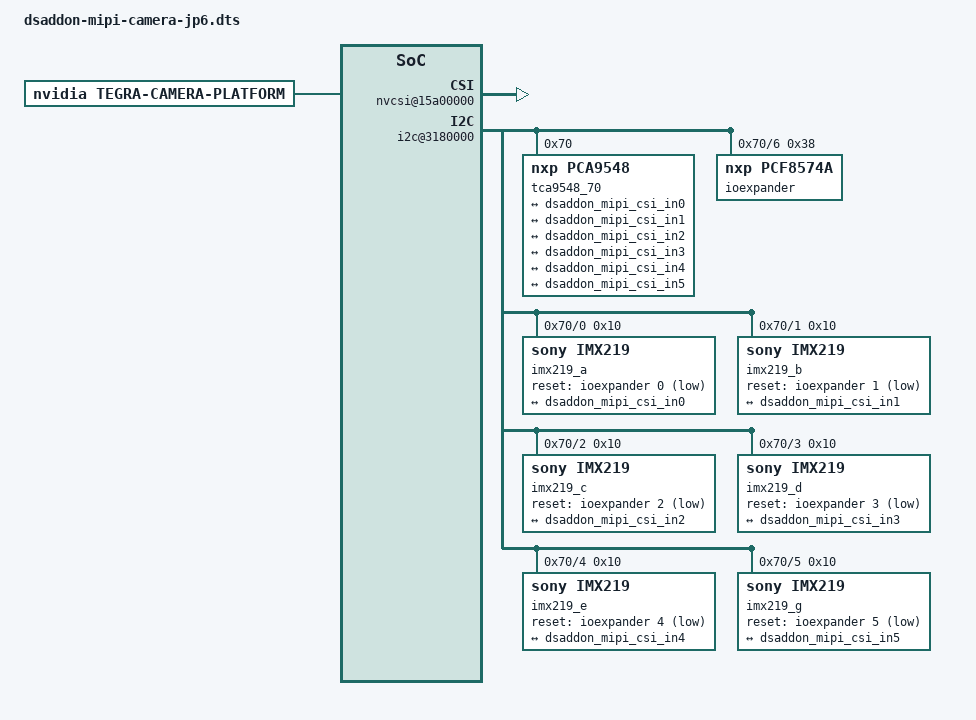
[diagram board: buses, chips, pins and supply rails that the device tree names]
/dts-v1/;
/plugin/;

#include <dt-bindings/tegra234-p3737-0000+p3701-0000.h>
#include <dt-bindings/clock/tegra234-clock.h>
#include <dt-bindings/gpio/tegra234-gpio.h>

#define CAMERA_I2C_MUX_BUS(x) (0x28 + x)

/ {
	overlay-name = "dsaddon mipi camera";
	jetson-header-name = "Jetson AGX CSI Connector";
	compatible = JETSON_COMPATIBLE;

	fragment-camera@0 {
		target-path = "/";
		__overlay__ {
			tegra-capture-vi {
				num-channels = <6>;
				ports {
					#address-cells = <1>;
					#size-cells = <0>;
					port@0 {
						status = "okay";
						reg = <0>;
						dsaddon_mipi_vi_in0: endpoint {
							status = "okay";
							port-index = <0>;
							bus-width = <2>;
							remote-endpoint = <&dsaddon_mipi_csi_out0>;
						};
					};
					port@1 {
						status = "okay";
						reg = <1>;
						dsaddon_mipi_vi_in1: endpoint {
							status = "okay";
							port-index = <1>;
							bus-width = <2>;
							remote-endpoint = <&dsaddon_mipi_csi_out1>;
						};
					};
					port@2 {
						status = "okay";
						reg = <2>;
						dsaddon_mipi_vi_in2: endpoint {
							status = "okay";
							port-index = <2>;
							bus-width = <2>;
							remote-endpoint = <&dsaddon_mipi_csi_out2>;
						};
					};
					port@3 {
						status = "okay";
						reg = <3>;
						dsaddon_mipi_vi_in3: endpoint {
							status = "okay";
							port-index = <3>;
							bus-width = <2>;
							remote-endpoint = <&dsaddon_mipi_csi_out3>;
						};
					};
					port@4 {
						status = "okay";
						reg = <4>;
						dsaddon_mipi_vi_in4: endpoint {
							status = "okay";
							port-index = <4>;
							bus-width = <2>;
							remote-endpoint = <&dsaddon_mipi_csi_out4>;
						};
					};
					port@5 {
						status = "okay";
						reg = <5>;
						dsaddon_mipi_vi_in5: endpoint {
							status = "okay";
							port-index = <5>;
							bus-width = <2>;
							remote-endpoint = <&dsaddon_mipi_csi_out5>;
						};
					};
				};
			};

			bus@0 {
				host1x@13e00000 {
					nvcsi@15a00000 {
						num-channels = <6>;
						#address-cells = <1>;
						#size-cells = <0>;
						status = "okay";

						channel@0 {
							status = "okay";
							reg = <0>;
							ports {
								#address-cells = <1>;
								#size-cells = <0>;
								port@0 {
									status = "okay";
									reg = <0>;
									dsaddon_mipi_csi_in0: endpoint@0 {
										status = "okay";
										port-index = <0>;
										bus-width = <2>;
										remote-endpoint = <&dsaddon_mipi_out0>;
									};
								};
								port@1 {
									status = "okay";
									reg = <1>;
									dsaddon_mipi_csi_out0: endpoint@1 {
										status = "okay";
										remote-endpoint = <&dsaddon_mipi_vi_in0>;
									};
								};
							};
						};
						channel@1 {
							status = "okay";
							reg = <1>;
							ports {
								#address-cells = <1>;
								#size-cells = <0>;
								port@0 {
									status = "okay";
									reg = <0>;
									dsaddon_mipi_csi_in1: endpoint@2 {
										status = "okay";
										port-index = <1>;
										bus-width = <2>;
										remote-endpoint = <&dsaddon_mipi_out1>;
									};
								};
								port@1 {
									status = "okay";
									reg = <1>;
									dsaddon_mipi_csi_out1: endpoint@3 {
										status = "okay";
										remote-endpoint = <&dsaddon_mipi_vi_in1>;
									};
								};
							};
						};
						channel@2 {
							status = "okay";
							reg = <2>;
							ports {
								#address-cells = <1>;
								#size-cells = <0>;
								port@0 {
									status = "okay";
									reg = <0>;
									dsaddon_mipi_csi_in2: endpoint@4 {
										status = "okay";
										port-index = <2>;
										bus-width = <2>;
										remote-endpoint = <&dsaddon_mipi_out2>;
									};
								};
								port@1 {
									status = "okay";
									reg = <1>;
									dsaddon_mipi_csi_out2: endpoint@5 {
										status = "okay";
										remote-endpoint = <&dsaddon_mipi_vi_in2>;
									};
								};
							};
						};
						channel@3 {
							status = "okay";
							reg = <3>;
							ports {
								#address-cells = <1>;
								#size-cells = <0>;
								port@0 {
									status = "okay";
									reg = <0>;
									dsaddon_mipi_csi_in3: endpoint@6 {
										status = "okay";
										port-index = <3>;
										bus-width = <2>;
										remote-endpoint = <&dsaddon_mipi_out3>;
									};
								};
								port@1 {
									status = "okay";
									reg = <1>;
									dsaddon_mipi_csi_out3: endpoint@7 {
										status = "okay";
										remote-endpoint = <&dsaddon_mipi_vi_in3>;
									};
								};
							};
						};
						channel@4 {
							status = "okay";
							reg = <4>;
							ports {
								#address-cells = <1>;
								#size-cells = <0>;
								port@0 {
									status = "okay";
									reg = <0>;
									dsaddon_mipi_csi_in4: endpoint@8 {
										status = "okay";
										port-index = <4>;
										bus-width = <2>;
										remote-endpoint = <&dsaddon_mipi_out4>;
									};
								};
								port@1 {
									status = "okay";
									reg = <1>;
									dsaddon_mipi_csi_out4: endpoint@9 {
										status = "okay";
										remote-endpoint = <&dsaddon_mipi_vi_in4>;
									};
								};
							};
						};
						channel@5 {
							status = "okay";
							reg = <5>;
							ports {
								#address-cells = <1>;
								#size-cells = <0>;
								port@0 {
									status = "okay";
									reg = <0>;
									dsaddon_mipi_csi_in5: endpoint@10 {
										status = "okay";
										port-index = <6>;
										bus-width = <2>;
										remote-endpoint = <&dsaddon_mipi_out5>;
									};
								};
								port@1 {
									status = "okay";
									reg = <1>;
									dsaddon_mipi_csi_out5: endpoint@11 {
										status = "okay";
										bus-width = <2>;
										remote-endpoint = <&dsaddon_mipi_vi_in5>;
									};
								};
							};
						};
					};
				};

				i2c@3180000 {
					status = "okay";
					#address-cells = <1>;
					#size-cells = <0>;

					tca9548_70: tca9548@70 {
						status = "okay";
						compatible = "nxp,pca9548";
						reg = <0x70>;
						#address-cells = <1>;
						#size-cells = <0>;
						i2c-mux-idle-disconnect;
						/*
						 * FIX: idle-state changed from 1 to 0xFF (disconnect).
						 * idle-state = <1> would keep channel 1 selected when
						 * idle, causing I2C collisions between cameras sharing
						 * address 0x10. Use 0xFF or rely on
						 * i2c-mux-idle-disconnect to deselect all channels.
						 */
						idle-state = <0xFF>;
						skip_mux_detect = "yes";
						vcc_lp = "vcc";

						/*
						 * FIX: Move ioexpander to i2c@6 (unchanged) BUT declare
						 * it FIRST so it probes before the camera channels.
						 * The DT overlay node order controls probe sequence.
						 * By listing i2c@6 first, the expander is registered as
						 * a GPIO provider before any camera tries gpiod_get().
						 */
						i2c@6 {
							status = "okay";
							reg = <6>;
							i2c-mux,deselect-on-exit;
							#address-cells = <1>;
							#size-cells = <0>;

							ioexpander: gpio@38 {
								status = "okay";
								compatible = "nxp,pcf8574a";
								reg = <0x38>;

								/* Required for GPIO provider registration */
								gpio-controller;
								#gpio-cells = <2>;

								/*
								 * FIX: lines-initial-states = <0x3F> was
								 * holding all 6 cameras IN reset at boot.
								 *
								 * PCF8574a quasi-bidirectional logic:
								 *   write 1 → pin floats high (input/released)
								 *   write 0 → pin driven low
								 *
								 * IMX219 XCLR (reset) is ACTIVE LOW:
								 *   LOW  = camera held in reset
								 *   HIGH = camera running normally
								 *
								 * We use GPIO_ACTIVE_LOW in reset-gpios below,
								 * so the GPIO framework inverts for us.
								 * Set all pins HIGH here (0xFF) so cameras
								 * start de-asserted (out of reset) at boot
								 * before the driver takes over.
								 *
								 * ~n_latch in the driver: gpio->out = ~0xFF = 0
								 * means all pins driven low initially, then the
								 * driver sets them high via direction_output.
								 * Use 0x00 here so ~n_latch = 0xFF = all high.
								 */
								lines-initial-states = <0x00>;

								gpio-line-names =
									"RESET_CAM0",
									"RESET_CAM1",
									"RESET_CAM2",
									"RESET_CAM3",
									"RESET_CAM4",
									"RESET_CAM5",
									"N/A",
									"N/A";

								/*
								 * FIX: Removed gpio-hog for pin 2.
								 * A gpio-hog permanently claims the pin inside
								 * the GPIO core. When imx219_c later calls
								 * gpiod_get("reset"), it gets -EBUSY because
								 * the pin is already owned by the hog.
								 * The camera driver manages reset itself.
								 */
							};
						};

						i2c@0 {
							status = "okay";
							reg = <0>;
							i2c-mux,deselect-on-exit;
							#address-cells = <1>;
							#size-cells = <0>;

							imx219_a@10 {
								status = "okay";
								compatible = "sony,imx219";
								/*
								 * FIX: GPIO_ACTIVE_LOW (IMX219 XCLR is active-low).
								 * Removed GPIO_OPEN_DRAIN — redundant on PCF8574a
								 * and was inconsistent with other camera nodes.
								 */
								reset-gpios = <&ioexpander 0 GPIO_ACTIVE_LOW>;
								reg = <0x10>;
								devnode = "video0";
								physical_w = "3.680";
								physical_h = "2.760";
								sensor_model = "imx219";
								use_sensor_mode_id = "true";

								mode0 {
									mclk_khz = "24000";
									num_lanes = "2";
									tegra_sinterface = "serial_a";
									phy_mode = "DPHY";
									discontinuous_clk = "yes";
									dpcm_enable = "false";
									cil_settletime = "0";
									active_w = "3280";
									active_h = "2464";
									mode_type = "bayer";
									pixel_phase = "rggb";
									csi_pixel_bit_depth = "10";
									readout_orientation = "90";
									line_length = "3448";
									inherent_gain = "1";
									mclk_multiplier = "9.33";
									pix_clk_hz = "182400000";
									gain_factor = "16";
									framerate_factor = "1000000";
									exposure_factor = "1000000";
									min_gain_val = "16";
									max_gain_val = "170";
									step_gain_val = "1";
									default_gain = "16";
									min_hdr_ratio = "1";
									max_hdr_ratio = "1";
									min_framerate = "2000000";
									max_framerate = "21000000";
									step_framerate = "1";
									default_framerate = "21000000";
									min_exp_time = "13";
									max_exp_time = "683709";
									step_exp_time = "1";
									default_exp_time = "2495";
									embedded_metadata_height = "2";
								};
								mode1 {
									mclk_khz = "24000";
									num_lanes = "2";
									tegra_sinterface = "serial_a";
									phy_mode = "DPHY";
									discontinuous_clk = "yes";
									dpcm_enable = "false";
									cil_settletime = "0";
									active_w = "3280";
									active_h = "1848";
									mode_type = "bayer";
									pixel_phase = "rggb";
									csi_pixel_bit_depth = "10";
									readout_orientation = "90";
									line_length = "3448";
									inherent_gain = "1";
									mclk_multiplier = "9.33";
									pix_clk_hz = "182400000";
									gain_factor = "16";
									framerate_factor = "1000000";
									exposure_factor = "1000000";
									min_gain_val = "16";
									max_gain_val = "170";
									step_gain_val = "1";
									default_gain = "16";
									min_hdr_ratio = "1";
									max_hdr_ratio = "1";
									min_framerate = "2000000";
									max_framerate = "28000000";
									step_framerate = "1";
									default_framerate = "28000000";
									min_exp_time = "13";
									max_exp_time = "683709";
									step_exp_time = "1";
									default_exp_time = "2495";
									embedded_metadata_height = "2";
								};
								mode2 {
									mclk_khz = "24000";
									num_lanes = "2";
									tegra_sinterface = "serial_a";
									phy_mode = "DPHY";
									discontinuous_clk = "yes";
									dpcm_enable = "false";
									cil_settletime = "0";
									active_w = "1920";
									active_h = "1080";
									mode_type = "bayer";
									pixel_phase = "rggb";
									csi_pixel_bit_depth = "10";
									readout_orientation = "90";
									line_length = "3448";
									inherent_gain = "1";
									mclk_multiplier = "9.33";
									pix_clk_hz = "182400000";
									gain_factor = "16";
									framerate_factor = "1000000";
									exposure_factor = "1000000";
									min_gain_val = "16";
									max_gain_val = "170";
									step_gain_val = "1";
									default_gain = "16";
									min_hdr_ratio = "1";
									max_hdr_ratio = "1";
									min_framerate = "2000000";
									max_framerate = "30000000";
									step_framerate = "1";
									default_framerate = "30000000";
									min_exp_time = "13";
									max_exp_time = "683709";
									step_exp_time = "1";
									default_exp_time = "2495";
									embedded_metadata_height = "2";
								};
								mode3 {
									mclk_khz = "24000";
									num_lanes = "2";
									tegra_sinterface = "serial_a";
									phy_mode = "DPHY";
									discontinuous_clk = "yes";
									dpcm_enable = "false";
									cil_settletime = "0";
									active_w = "1640";
									active_h = "1232";
									mode_type = "bayer";
									pixel_phase = "rggb";
									csi_pixel_bit_depth = "10";
									readout_orientation = "90";
									line_length = "3448";
									inherent_gain = "1";
									mclk_multiplier = "9.33";
									pix_clk_hz = "182400000";
									gain_factor = "16";
									framerate_factor = "1000000";
									exposure_factor = "1000000";
									min_gain_val = "16";
									max_gain_val = "170";
									step_gain_val = "1";
									default_gain = "16";
									min_hdr_ratio = "1";
									max_hdr_ratio = "1";
									min_framerate = "2000000";
									max_framerate = "30000000";
									step_framerate = "1";
									default_framerate = "30000000";
									min_exp_time = "13";
									max_exp_time = "683709";
									step_exp_time = "1";
									default_exp_time = "2495";
									embedded_metadata_height = "2";
								};
								mode4 {
									mclk_khz = "24000";
									num_lanes = "2";
									tegra_sinterface = "serial_a";
									phy_mode = "DPHY";
									discontinuous_clk = "yes";
									dpcm_enable = "false";
									cil_settletime = "0";
									active_w = "1280";
									active_h = "720";
									mode_type = "bayer";
									pixel_phase = "rggb";
									csi_pixel_bit_depth = "10";
									readout_orientation = "90";
									line_length = "3448";
									inherent_gain = "1";
									mclk_multiplier = "9.33";
									pix_clk_hz = "182400000";
									gain_factor = "16";
									framerate_factor = "1000000";
									exposure_factor = "1000000";
									min_gain_val = "16";
									max_gain_val = "170";
									step_gain_val = "1";
									default_gain = "16";
									min_hdr_ratio = "1";
									max_hdr_ratio = "1";
									min_framerate = "2000000";
									max_framerate = "60000000";
									step_framerate = "1";
									default_framerate = "60000000";
									min_exp_time = "13";
									max_exp_time = "683709";
									step_exp_time = "1";
									default_exp_time = "2495";
									embedded_metadata_height = "2";
								};
								ports {
									#address-cells = <1>;
									#size-cells = <0>;
									port@0 {
										status = "okay";
										reg = <0>;
										dsaddon_mipi_out0: endpoint {
											status = "okay";
											port-index = <0>;
											bus-width = <2>;
											remote-endpoint = <&dsaddon_mipi_csi_in0>;
										};
									};
								};
							};
						};

						i2c@1 {
							status = "okay";
							reg = <1>;
							i2c-mux,deselect-on-exit;
							#address-cells = <1>;
							#size-cells = <0>;

							imx219_b@10 {
								status = "okay";
								compatible = "sony,imx219";
								/* FIX: was GPIO_ACTIVE_HIGH, IMX219 reset is active-low */
								reset-gpios = <&ioexpander 1 GPIO_ACTIVE_LOW>;
								reg = <0x10>;
								devnode = "video1";
								physical_w = "3.680";
								physical_h = "2.760";
								sensor_model = "imx219";
								use_sensor_mode_id = "true";

								mode0 {
									mclk_khz = "24000"; num_lanes = "2";
									tegra_sinterface = "serial_b"; phy_mode = "DPHY";
									discontinuous_clk = "yes"; dpcm_enable = "false"; cil_settletime = "0";
									active_w = "3280"; active_h = "2464"; mode_type = "bayer"; pixel_phase = "rggb";
									csi_pixel_bit_depth = "10"; readout_orientation = "90"; line_length = "3448";
									inherent_gain = "1"; mclk_multiplier = "9.33"; pix_clk_hz = "182400000";
									gain_factor = "16"; framerate_factor = "1000000"; exposure_factor = "1000000";
									min_gain_val = "16"; max_gain_val = "170"; step_gain_val = "1"; default_gain = "16";
									min_hdr_ratio = "1"; max_hdr_ratio = "1";
									min_framerate = "2000000"; max_framerate = "21000000"; step_framerate = "1"; default_framerate = "21000000";
									min_exp_time = "13"; max_exp_time = "683709"; step_exp_time = "1"; default_exp_time = "2495";
									embedded_metadata_height = "2";
								};
								mode1 {
									mclk_khz = "24000"; num_lanes = "2";
									tegra_sinterface = "serial_b"; phy_mode = "DPHY";
									discontinuous_clk = "yes"; dpcm_enable = "false"; cil_settletime = "0";
									active_w = "3280"; active_h = "1848"; mode_type = "bayer"; pixel_phase = "rggb";
									csi_pixel_bit_depth = "10"; readout_orientation = "90"; line_length = "3448";
									inherent_gain = "1"; mclk_multiplier = "9.33"; pix_clk_hz = "182400000";
									gain_factor = "16"; framerate_factor = "1000000"; exposure_factor = "1000000";
									min_gain_val = "16"; max_gain_val = "170"; step_gain_val = "1"; default_gain = "16";
									min_hdr_ratio = "1"; max_hdr_ratio = "1";
									min_framerate = "2000000"; max_framerate = "28000000"; step_framerate = "1"; default_framerate = "28000000";
									min_exp_time = "13"; max_exp_time = "683709"; step_exp_time = "1"; default_exp_time = "2495";
									embedded_metadata_height = "2";
								};
								mode2 {
									mclk_khz = "24000"; num_lanes = "2";
									tegra_sinterface = "serial_b"; phy_mode = "DPHY";
									discontinuous_clk = "yes"; dpcm_enable = "false"; cil_settletime = "0";
									active_w = "1920"; active_h = "1080"; mode_type = "bayer"; pixel_phase = "rggb";
									csi_pixel_bit_depth = "10"; readout_orientation = "90"; line_length = "3448";
									inherent_gain = "1"; mclk_multiplier = "9.33"; pix_clk_hz = "182400000";
									gain_factor = "16"; framerate_factor = "1000000"; exposure_factor = "1000000";
									min_gain_val = "16"; max_gain_val = "170"; step_gain_val = "1"; default_gain = "16";
									min_hdr_ratio = "1"; max_hdr_ratio = "1";
									min_framerate = "2000000"; max_framerate = "30000000"; step_framerate = "1"; default_framerate = "30000000";
									min_exp_time = "13"; max_exp_time = "683709"; step_exp_time = "1"; default_exp_time = "2495";
									embedded_metadata_height = "2";
								};
								mode3 {
									mclk_khz = "24000"; num_lanes = "2";
									tegra_sinterface = "serial_b"; phy_mode = "DPHY";
									discontinuous_clk = "yes"; dpcm_enable = "false"; cil_settletime = "0";
									active_w = "1640"; active_h = "1232"; mode_type = "bayer"; pixel_phase = "rggb";
									csi_pixel_bit_depth = "10"; readout_orientation = "90"; line_length = "3448";
									inherent_gain = "1"; mclk_multiplier = "9.33"; pix_clk_hz = "182400000";
									gain_factor = "16"; framerate_factor = "1000000"; exposure_factor = "1000000";
									min_gain_val = "16"; max_gain_val = "170"; step_gain_val = "1"; default_gain = "16";
									min_hdr_ratio = "1"; max_hdr_ratio = "1";
									min_framerate = "2000000"; max_framerate = "30000000"; step_framerate = "1"; default_framerate = "30000000";
									min_exp_time = "13"; max_exp_time = "683709"; step_exp_time = "1"; default_exp_time = "2495";
									embedded_metadata_height = "2";
								};
								mode4 {
									mclk_khz = "24000"; num_lanes = "2";
									tegra_sinterface = "serial_b"; phy_mode = "DPHY";
									discontinuous_clk = "yes"; dpcm_enable = "false"; cil_settletime = "0";
									active_w = "1280"; active_h = "720"; mode_type = "bayer"; pixel_phase = "rggb";
									csi_pixel_bit_depth = "10"; readout_orientation = "90"; line_length = "3448";
									inherent_gain = "1"; mclk_multiplier = "9.33"; pix_clk_hz = "182400000";
									gain_factor = "16"; framerate_factor = "1000000"; exposure_factor = "1000000";
									min_gain_val = "16"; max_gain_val = "170"; step_gain_val = "1"; default_gain = "16";
									min_hdr_ratio = "1"; max_hdr_ratio = "1";
									min_framerate = "2000000"; max_framerate = "60000000"; step_framerate = "1"; default_framerate = "60000000";
									min_exp_time = "13"; max_exp_time = "683709"; step_exp_time = "1"; default_exp_time = "2495";
									embedded_metadata_height = "2";
								};
								ports {
									#address-cells = <1>;
									#size-cells = <0>;
									port@0 {
										reg = <0>;
										dsaddon_mipi_out1: endpoint {
											port-index = <1>;
											bus-width = <2>;
											remote-endpoint = <&dsaddon_mipi_csi_in1>;
										};
									};
								};
							};
						};

						i2c@2 {
							status = "okay";
							reg = <2>;
							i2c-mux,deselect-on-exit;
							#address-cells = <1>;
							#size-cells = <0>;

							imx219_c@10 {
								status = "okay";
								compatible = "sony,imx219";
								/* FIX: was GPIO_ACTIVE_HIGH; also hog removed so this claim succeeds */
								reset-gpios = <&ioexpander 2 GPIO_ACTIVE_LOW>;
								reg = <0x10>;
								devnode = "video2";
								physical_w = "3.680";
								physical_h = "2.760";
								sensor_model = "imx219";
								use_sensor_mode_id = "true";

								mode0 {
									mclk_khz = "24000"; num_lanes = "2";
									tegra_sinterface = "serial_c"; phy_mode = "DPHY";
									discontinuous_clk = "yes"; dpcm_enable = "false"; cil_settletime = "0";
									active_w = "3280"; active_h = "2464"; mode_type = "bayer"; pixel_phase = "rggb";
									csi_pixel_bit_depth = "10"; readout_orientation = "90"; line_length = "3448";
									inherent_gain = "1"; mclk_multiplier = "9.33"; pix_clk_hz = "182400000";
									gain_factor = "16"; framerate_factor = "1000000"; exposure_factor = "1000000";
									min_gain_val = "16"; max_gain_val = "170"; step_gain_val = "1"; default_gain = "16";
									min_hdr_ratio = "1"; max_hdr_ratio = "1";
									min_framerate = "2000000"; max_framerate = "21000000"; step_framerate = "1"; default_framerate = "21000000";
									min_exp_time = "13"; max_exp_time = "683709"; step_exp_time = "1"; default_exp_time = "2495";
									embedded_metadata_height = "2";
								};
								mode1 {
									mclk_khz = "24000"; num_lanes = "2";
									tegra_sinterface = "serial_c"; phy_mode = "DPHY";
									discontinuous_clk = "yes"; dpcm_enable = "false"; cil_settletime = "0";
									active_w = "3280"; active_h = "1848"; mode_type = "bayer"; pixel_phase = "rggb";
									csi_pixel_bit_depth = "10"; readout_orientation = "90"; line_length = "3448";
									inherent_gain = "1"; mclk_multiplier = "9.33"; pix_clk_hz = "182400000";
									gain_factor = "16"; framerate_factor = "1000000"; exposure_factor = "1000000";
									min_gain_val = "16"; max_gain_val = "170"; step_gain_val = "1"; default_gain = "16";
									min_hdr_ratio = "1"; max_hdr_ratio = "1";
									min_framerate = "2000000"; max_framerate = "28000000"; step_framerate = "1"; default_framerate = "28000000";
									min_exp_time = "13"; max_exp_time = "683709"; step_exp_time = "1"; default_exp_time = "2495";
									embedded_metadata_height = "2";
								};
								mode2 {
									mclk_khz = "24000"; num_lanes = "2";
									tegra_sinterface = "serial_c"; phy_mode = "DPHY";
									discontinuous_clk = "yes"; dpcm_enable = "false"; cil_settletime = "0";
									active_w = "1920"; active_h = "1080"; mode_type = "bayer"; pixel_phase = "rggb";
									csi_pixel_bit_depth = "10"; readout_orientation = "90"; line_length = "3448";
									inherent_gain = "1"; mclk_multiplier = "9.33"; pix_clk_hz = "182400000";
									gain_factor = "16"; framerate_factor = "1000000"; exposure_factor = "1000000";
									min_gain_val = "16"; max_gain_val = "170"; step_gain_val = "1"; default_gain = "16";
									min_hdr_ratio = "1"; max_hdr_ratio = "1";
									min_framerate = "2000000"; max_framerate = "30000000"; step_framerate = "1"; default_framerate = "30000000";
									min_exp_time = "13"; max_exp_time = "683709"; step_exp_time = "1"; default_exp_time = "2495";
									embedded_metadata_height = "2";
								};
								mode3 {
									mclk_khz = "24000"; num_lanes = "2";
									tegra_sinterface = "serial_c"; phy_mode = "DPHY";
									discontinuous_clk = "yes"; dpcm_enable = "false"; cil_settletime = "0";
									active_w = "1640"; active_h = "1232"; mode_type = "bayer"; pixel_phase = "rggb";
									csi_pixel_bit_depth = "10"; readout_orientation = "90"; line_length = "3448";
									inherent_gain = "1"; mclk_multiplier = "9.33"; pix_clk_hz = "182400000";
									gain_factor = "16"; framerate_factor = "1000000"; exposure_factor = "1000000";
									min_gain_val = "16"; max_gain_val = "170"; step_gain_val = "1"; default_gain = "16";
									min_hdr_ratio = "1"; max_hdr_ratio = "1";
									min_framerate = "2000000"; max_framerate = "30000000"; step_framerate = "1"; default_framerate = "30000000";
									min_exp_time = "13"; max_exp_time = "683709"; step_exp_time = "1"; default_exp_time = "2495";
									embedded_metadata_height = "2";
								};
								mode4 {
									mclk_khz = "24000"; num_lanes = "2";
									tegra_sinterface = "serial_c"; phy_mode = "DPHY";
									discontinuous_clk = "yes"; dpcm_enable = "false"; cil_settletime = "0";
									active_w = "1280"; active_h = "720"; mode_type = "bayer"; pixel_phase = "rggb";
									csi_pixel_bit_depth = "10"; readout_orientation = "90"; line_length = "3448";
									inherent_gain = "1"; mclk_multiplier = "9.33"; pix_clk_hz = "182400000";
									gain_factor = "16"; framerate_factor = "1000000"; exposure_factor = "1000000";
									min_gain_val = "16"; max_gain_val = "170"; step_gain_val = "1"; default_gain = "16";
									min_hdr_ratio = "1"; max_hdr_ratio = "1";
									min_framerate = "2000000"; max_framerate = "60000000"; step_framerate = "1"; default_framerate = "60000000";
									min_exp_time = "13"; max_exp_time = "683709"; step_exp_time = "1"; default_exp_time = "2495";
									embedded_metadata_height = "2";
								};
								ports {
									#address-cells = <1>;
									#size-cells = <0>;
									port@0 {
										reg = <0>;
										dsaddon_mipi_out2: endpoint {
											port-index = <2>;
											bus-width = <2>;
											remote-endpoint = <&dsaddon_mipi_csi_in2>;
										};
									};
								};
							};
						};

						i2c@3 {
							status = "okay";
							reg = <3>;
							i2c-mux,deselect-on-exit;
							#address-cells = <1>;
							#size-cells = <0>;

							imx219_d@10 {
								status = "okay";
								compatible = "sony,imx219";
								reset-gpios = <&ioexpander 3 GPIO_ACTIVE_LOW>; /* FIX */
								reg = <0x10>;
								devnode = "video3";
								physical_w = "3.680";
								physical_h = "2.760";
								sensor_model = "imx219";
								use_sensor_mode_id = "true";

								mode0 {
									mclk_khz = "24000"; num_lanes = "2"; tegra_sinterface = "serial_d";
									phy_mode = "DPHY"; discontinuous_clk = "yes"; dpcm_enable = "false"; cil_settletime = "0";
									active_w = "3280"; active_h = "2464"; mode_type = "bayer"; pixel_phase = "rggb";
									csi_pixel_bit_depth = "10"; readout_orientation = "90"; line_length = "3448";
									inherent_gain = "1"; mclk_multiplier = "9.33"; pix_clk_hz = "182400000";
									gain_factor = "16"; framerate_factor = "1000000"; exposure_factor = "1000000";
									min_gain_val = "16"; max_gain_val = "170"; step_gain_val = "1"; default_gain = "16";
									min_hdr_ratio = "1"; max_hdr_ratio = "1";
									min_framerate = "2000000"; max_framerate = "21000000"; step_framerate = "1"; default_framerate = "21000000";
									min_exp_time = "13"; max_exp_time = "683709"; step_exp_time = "1"; default_exp_time = "2495";
									embedded_metadata_height = "2";
								};
								mode1 {
									mclk_khz = "24000"; num_lanes = "2"; tegra_sinterface = "serial_d";
									phy_mode = "DPHY"; discontinuous_clk = "yes"; dpcm_enable = "false"; cil_settletime = "0";
									active_w = "3280"; active_h = "1848"; mode_type = "bayer"; pixel_phase = "rggb";
									csi_pixel_bit_depth = "10"; readout_orientation = "90"; line_length = "3448";
									inherent_gain = "1"; mclk_multiplier = "9.33"; pix_clk_hz = "182400000";
									gain_factor = "16"; framerate_factor = "1000000"; exposure_factor = "1000000";
									min_gain_val = "16"; max_gain_val = "170"; step_gain_val = "1"; default_gain = "16";
									min_hdr_ratio = "1"; max_hdr_ratio = "1";
									min_framerate = "2000000"; max_framerate = "28000000"; step_framerate = "1"; default_framerate = "28000000";
									min_exp_time = "13"; max_exp_time = "683709"; step_exp_time = "1"; default_exp_time = "2495";
									embedded_metadata_height = "2";
								};
								mode2 {
									mclk_khz = "24000"; num_lanes = "2"; tegra_sinterface = "serial_d";
									phy_mode = "DPHY"; discontinuous_clk = "yes"; dpcm_enable = "false"; cil_settletime = "0";
									active_w = "1920"; active_h = "1080"; mode_type = "bayer"; pixel_phase = "rggb";
									csi_pixel_bit_depth = "10"; readout_orientation = "90"; line_length = "3448";
									inherent_gain = "1"; mclk_multiplier = "9.33"; pix_clk_hz = "182400000";
									gain_factor = "16"; framerate_factor = "1000000"; exposure_factor = "1000000";
									min_gain_val = "16"; max_gain_val = "170"; step_gain_val = "1"; default_gain = "16";
									min_hdr_ratio = "1"; max_hdr_ratio = "1";
									min_framerate = "2000000"; max_framerate = "30000000"; step_framerate = "1"; default_framerate = "30000000";
									min_exp_time = "13"; max_exp_time = "683709"; step_exp_time = "1"; default_exp_time = "2495";
									embedded_metadata_height = "2";
								};
								mode3 {
									mclk_khz = "24000"; num_lanes = "2"; tegra_sinterface = "serial_d";
									phy_mode = "DPHY"; discontinuous_clk = "yes"; dpcm_enable = "false"; cil_settletime = "0";
									active_w = "1640"; active_h = "1232"; mode_type = "bayer"; pixel_phase = "rggb";
									csi_pixel_bit_depth = "10"; readout_orientation = "90"; line_length = "3448";
									inherent_gain = "1"; mclk_multiplier = "9.33"; pix_clk_hz = "182400000";
									gain_factor = "16"; framerate_factor = "1000000"; exposure_factor = "1000000";
									min_gain_val = "16"; max_gain_val = "170"; step_gain_val = "1"; default_gain = "16";
									min_hdr_ratio = "1"; max_hdr_ratio = "1";
									min_framerate = "2000000"; max_framerate = "30000000"; step_framerate = "1"; default_framerate = "30000000";
									min_exp_time = "13"; max_exp_time = "683709"; step_exp_time = "1"; default_exp_time = "2495";
									embedded_metadata_height = "2";
								};
								mode4 {
									mclk_khz = "24000"; num_lanes = "2"; tegra_sinterface = "serial_d";
									phy_mode = "DPHY"; discontinuous_clk = "yes"; dpcm_enable = "false"; cil_settletime = "0";
									active_w = "1280"; active_h = "720"; mode_type = "bayer"; pixel_phase = "rggb";
									csi_pixel_bit_depth = "10"; readout_orientation = "90"; line_length = "3448";
									inherent_gain = "1"; mclk_multiplier = "9.33"; pix_clk_hz = "182400000";
									gain_factor = "16"; framerate_factor = "1000000"; exposure_factor = "1000000";
									min_gain_val = "16"; max_gain_val = "170"; step_gain_val = "1"; default_gain = "16";
									min_hdr_ratio = "1"; max_hdr_ratio = "1";
									min_framerate = "2000000"; max_framerate = "60000000"; step_framerate = "1"; default_framerate = "60000000";
									min_exp_time = "13"; max_exp_time = "683709"; step_exp_time = "1"; default_exp_time = "2495";
									embedded_metadata_height = "2";
								};
								ports {
									#address-cells = <1>;
									#size-cells = <0>;
									port@0 {
										reg = <0>;
										dsaddon_mipi_out3: endpoint {
											port-index = <3>;
											bus-width = <2>;
											remote-endpoint = <&dsaddon_mipi_csi_in3>;
										};
									};
								};
							};
						};

						i2c@4 {
							status = "okay";
							reg = <4>;
							i2c-mux,deselect-on-exit;
							#address-cells = <1>;
							#size-cells = <0>;

							imx219_e@10 {
								status = "okay";
								compatible = "sony,imx219";
								reset-gpios = <&ioexpander 4 GPIO_ACTIVE_LOW>; /* FIX */
								reg = <0x10>;
								devnode = "video4";
								physical_w = "3.680";
								physical_h = "2.760";
								sensor_model = "imx219";
								use_sensor_mode_id = "true";

								mode0 {
									mclk_khz = "24000"; num_lanes = "2"; tegra_sinterface = "serial_e";
									phy_mode = "DPHY"; discontinuous_clk = "yes"; dpcm_enable = "false"; cil_settletime = "0";
									active_w = "3280"; active_h = "2464"; mode_type = "bayer"; pixel_phase = "rggb";
									csi_pixel_bit_depth = "10"; readout_orientation = "90"; line_length = "3448";
									inherent_gain = "1"; mclk_multiplier = "9.33"; pix_clk_hz = "182400000";
									gain_factor = "16"; framerate_factor = "1000000"; exposure_factor = "1000000";
									min_gain_val = "16"; max_gain_val = "170"; step_gain_val = "1"; default_gain = "16";
									min_hdr_ratio = "1"; max_hdr_ratio = "1";
									min_framerate = "2000000"; max_framerate = "21000000"; step_framerate = "1"; default_framerate = "21000000";
									min_exp_time = "13"; max_exp_time = "683709"; step_exp_time = "1"; default_exp_time = "2495";
									embedded_metadata_height = "2";
								};
								mode1 {
									mclk_khz = "24000"; num_lanes = "2"; tegra_sinterface = "serial_e";
									phy_mode = "DPHY"; discontinuous_clk = "yes"; dpcm_enable = "false"; cil_settletime = "0";
									active_w = "3280"; active_h = "1848"; mode_type = "bayer"; pixel_phase = "rggb";
									csi_pixel_bit_depth = "10"; readout_orientation = "90"; line_length = "3448";
									inherent_gain = "1"; mclk_multiplier = "9.33"; pix_clk_hz = "182400000";
									gain_factor = "16"; framerate_factor = "1000000"; exposure_factor = "1000000";
									min_gain_val = "16"; max_gain_val = "170"; step_gain_val = "1"; default_gain = "16";
									min_hdr_ratio = "1"; max_hdr_ratio = "1";
									min_framerate = "2000000"; max_framerate = "28000000"; step_framerate = "1"; default_framerate = "28000000";
									min_exp_time = "13"; max_exp_time = "683709"; step_exp_time = "1"; default_exp_time = "2495";
									embedded_metadata_height = "2";
								};
								mode2 {
									mclk_khz = "24000"; num_lanes = "2"; tegra_sinterface = "serial_e";
									phy_mode = "DPHY"; discontinuous_clk = "yes"; dpcm_enable = "false"; cil_settletime = "0";
									active_w = "1920"; active_h = "1080"; mode_type = "bayer"; pixel_phase = "rggb";
									csi_pixel_bit_depth = "10"; readout_orientation = "90"; line_length = "3448";
									inherent_gain = "1"; mclk_multiplier = "9.33"; pix_clk_hz = "182400000";
									gain_factor = "16"; framerate_factor = "1000000"; exposure_factor = "1000000";
									min_gain_val = "16"; max_gain_val = "170"; step_gain_val = "1"; default_gain = "16";
									min_hdr_ratio = "1"; max_hdr_ratio = "1";
									min_framerate = "2000000"; max_framerate = "30000000"; step_framerate = "1"; default_framerate = "30000000";
									min_exp_time = "13"; max_exp_time = "683709"; step_exp_time = "1"; default_exp_time = "2495";
									embedded_metadata_height = "2";
								};
								mode3 {
									mclk_khz = "24000"; num_lanes = "2"; tegra_sinterface = "serial_e";
									phy_mode = "DPHY"; discontinuous_clk = "yes"; dpcm_enable = "false"; cil_settletime = "0";
									active_w = "1640"; active_h = "1232"; mode_type = "bayer"; pixel_phase = "rggb";
									csi_pixel_bit_depth = "10"; readout_orientation = "90"; line_length = "3448";
									inherent_gain = "1"; mclk_multiplier = "9.33"; pix_clk_hz = "182400000";
									gain_factor = "16"; framerate_factor = "1000000"; exposure_factor = "1000000";
									min_gain_val = "16"; max_gain_val = "170"; step_gain_val = "1"; default_gain = "16";
									min_hdr_ratio = "1"; max_hdr_ratio = "1";
									min_framerate = "2000000"; max_framerate = "30000000"; step_framerate = "1"; default_framerate = "30000000";
									min_exp_time = "13"; max_exp_time = "683709"; step_exp_time = "1"; default_exp_time = "2495";
									embedded_metadata_height = "2";
								};
								mode4 {
									mclk_khz = "24000"; num_lanes = "2"; tegra_sinterface = "serial_e";
									phy_mode = "DPHY"; discontinuous_clk = "yes"; dpcm_enable = "false"; cil_settletime = "0";
									active_w = "1280"; active_h = "720"; mode_type = "bayer"; pixel_phase = "rggb";
									csi_pixel_bit_depth = "10"; readout_orientation = "90"; line_length = "3448";
									inherent_gain = "1"; mclk_multiplier = "9.33"; pix_clk_hz = "182400000";
									gain_factor = "16"; framerate_factor = "1000000"; exposure_factor = "1000000";
									min_gain_val = "16"; max_gain_val = "170"; step_gain_val = "1"; default_gain = "16";
									min_hdr_ratio = "1"; max_hdr_ratio = "1";
									min_framerate = "2000000"; max_framerate = "60000000"; step_framerate = "1"; default_framerate = "60000000";
									min_exp_time = "13"; max_exp_time = "683709"; step_exp_time = "1"; default_exp_time = "2495";
									embedded_metadata_height = "2";
								};
								ports {
									#address-cells = <1>;
									#size-cells = <0>;
									port@0 {
										reg = <0>;
										dsaddon_mipi_out4: endpoint {
											port-index = <4>;
											bus-width = <2>;
											remote-endpoint = <&dsaddon_mipi_csi_in4>;
										};
									};
								};
							};
						};

						i2c@5 {
							status = "okay";
							reg = <5>;
							i2c-mux,deselect-on-exit;
							#address-cells = <1>;
							#size-cells = <0>;

							imx219_g@10 {
								status = "okay";
								compatible = "sony,imx219";
								reset-gpios = <&ioexpander 5 GPIO_ACTIVE_LOW>; /* FIX */
								reg = <0x10>;
								devnode = "video5";
								physical_w = "3.680";
								physical_h = "2.760";
								sensor_model = "imx219";
								use_sensor_mode_id = "true";

								mode0 {
									mclk_khz = "24000"; num_lanes = "2"; tegra_sinterface = "serial_g";
									phy_mode = "DPHY"; discontinuous_clk = "yes"; dpcm_enable = "false"; cil_settletime = "0";
									active_w = "3280"; active_h = "2464"; mode_type = "bayer"; pixel_phase = "rggb";
									csi_pixel_bit_depth = "10"; readout_orientation = "90"; line_length = "3448";
									inherent_gain = "1"; mclk_multiplier = "9.33"; pix_clk_hz = "182400000";
									gain_factor = "16"; framerate_factor = "1000000"; exposure_factor = "1000000";
									min_gain_val = "16"; max_gain_val = "170"; step_gain_val = "1"; default_gain = "16";
									min_hdr_ratio = "1"; max_hdr_ratio = "1";
									min_framerate = "2000000"; max_framerate = "21000000"; step_framerate = "1"; default_framerate = "21000000";
									min_exp_time = "13"; max_exp_time = "683709"; step_exp_time = "1"; default_exp_time = "2495";
									embedded_metadata_height = "2";
								};
								mode1 {
									mclk_khz = "24000"; num_lanes = "2"; tegra_sinterface = "serial_g";
									phy_mode = "DPHY"; discontinuous_clk = "yes"; dpcm_enable = "false"; cil_settletime = "0";
									active_w = "3280"; active_h = "1848"; mode_type = "bayer"; pixel_phase = "rggb";
									csi_pixel_bit_depth = "10"; readout_orientation = "90"; line_length = "3448";
									inherent_gain = "1"; mclk_multiplier = "9.33"; pix_clk_hz = "182400000";
									gain_factor = "16"; framerate_factor = "1000000"; exposure_factor = "1000000";
									min_gain_val = "16"; max_gain_val = "170"; step_gain_val = "1"; default_gain = "16";
									min_hdr_ratio = "1"; max_hdr_ratio = "1";
									min_framerate = "2000000"; max_framerate = "28000000"; step_framerate = "1"; default_framerate = "28000000";
									min_exp_time = "13"; max_exp_time = "683709"; step_exp_time = "1"; default_exp_time = "2495";
									embedded_metadata_height = "2";
								};
								mode2 {
									mclk_khz = "24000"; num_lanes = "2"; tegra_sinterface = "serial_g";
									phy_mode = "DPHY"; discontinuous_clk = "yes"; dpcm_enable = "false"; cil_settletime = "0";
									active_w = "1920"; active_h = "1080"; mode_type = "bayer"; pixel_phase = "rggb";
									csi_pixel_bit_depth = "10"; readout_orientation = "90"; line_length = "3448";
									inherent_gain = "1"; mclk_multiplier = "9.33"; pix_clk_hz = "182400000";
									gain_factor = "16"; framerate_factor = "1000000"; exposure_factor = "1000000";
									min_gain_val = "16"; max_gain_val = "170"; step_gain_val = "1"; default_gain = "16";
									min_hdr_ratio = "1"; max_hdr_ratio = "1";
									min_framerate = "2000000"; max_framerate = "30000000"; step_framerate = "1"; default_framerate = "30000000";
									min_exp_time = "13"; max_exp_time = "683709"; step_exp_time = "1"; default_exp_time = "2495";
									embedded_metadata_height = "2";
								};
								mode3 {
									mclk_khz = "24000"; num_lanes = "2"; tegra_sinterface = "serial_g";
									phy_mode = "DPHY"; discontinuous_clk = "yes"; dpcm_enable = "false"; cil_settletime = "0";
									active_w = "1640"; active_h = "1232"; mode_type = "bayer"; pixel_phase = "rggb";
									csi_pixel_bit_depth = "10"; readout_orientation = "90"; line_length = "3448";
									inherent_gain = "1"; mclk_multiplier = "9.33"; pix_clk_hz = "182400000";
									gain_factor = "16"; framerate_factor = "1000000"; exposure_factor = "1000000";
									min_gain_val = "16"; max_gain_val = "170"; step_gain_val = "1"; default_gain = "16";
									min_hdr_ratio = "1"; max_hdr_ratio = "1";
									min_framerate = "2000000"; max_framerate = "30000000"; step_framerate = "1"; default_framerate = "30000000";
									min_exp_time = "13"; max_exp_time = "683709"; step_exp_time = "1"; default_exp_time = "2495";
									embedded_metadata_height = "2";
								};
								mode4 {
									mclk_khz = "24000"; num_lanes = "2"; tegra_sinterface = "serial_g";
									phy_mode = "DPHY"; discontinuous_clk = "yes"; dpcm_enable = "false"; cil_settletime = "0";
									active_w = "1280"; active_h = "720"; mode_type = "bayer"; pixel_phase = "rggb";
									csi_pixel_bit_depth = "10"; readout_orientation = "90"; line_length = "3448";
									inherent_gain = "1"; mclk_multiplier = "9.33"; pix_clk_hz = "182400000";
									gain_factor = "16"; framerate_factor = "1000000"; exposure_factor = "1000000";
									min_gain_val = "16"; max_gain_val = "170"; step_gain_val = "1"; default_gain = "16";
									min_hdr_ratio = "1"; max_hdr_ratio = "1";
									min_framerate = "2000000"; max_framerate = "60000000"; step_framerate = "1"; default_framerate = "60000000";
									min_exp_time = "13"; max_exp_time = "683709"; step_exp_time = "1"; default_exp_time = "2495";
									embedded_metadata_height = "2";
								};
								ports {
									#address-cells = <1>;
									#size-cells = <0>;
									port@0 {
										reg = <0>;
										dsaddon_mipi_out5: endpoint {
											port-index = <5>;
											bus-width = <2>;
											remote-endpoint = <&dsaddon_mipi_csi_in5>;
										};
									};
								};
							};
						};

					};
				};

				dsaddon_mipi_lens_imx219@P5V27C {
					min_focus_distance = "0.0";
					hyper_focal = "0.0";
					focal_length = "3.04";
					f_number = "2.0";
					aperture = "0.0";
				};
			};

			tegra-camera-platform {
				compatible = "nvidia, tegra-camera-platform";
				num_csi_lanes = <12>;
				max_lane_speed = <1500000>;
				min_bits_per_pixel = <10>;
				vi_peak_byte_per_pixel = <2>;
				vi_bw_margin_pct = <25>;
				max_pixel_rate = <240000>;
				isp_peak_byte_per_pixel = <5>;
				isp_bw_margin_pct = <25>;
				tpg_max_iso = <3916800>;

				modules {
					module0 {
						status = "okay";
						badge = "dsaddon_mipi_bottomleft";
						position = "bottomleft";
						orientation = "1";
						drivernode0 {
							status = "okay";
							pcl_id = "v4l2_sensor";
							sysfs-device-tree = "/sys/firmware/devicetree/base/bus@0/i2c@3180000/tca9548@70/i2c@0/imx219_a@10";
						};
						drivernode1 {
							status = "okay";
							pcl_id = "v4l2_lens";
							sysfs-device-tree = "/sys/firmware/devicetree/base/bus@0/dsaddon_mipi_lens_imx219@P5V27C/";
						};
					};
					module1 {
						status = "okay";
						badge = "dsaddon_mipi_centerleft";
						position = "centerleft";
						orientation = "1";
						drivernode0 {
							status = "okay";
							pcl_id = "v4l2_sensor";
							sysfs-device-tree = "/sys/firmware/devicetree/base/bus@0/i2c@3180000/tca9548@70/i2c@1/imx219_b@10";
						};
						drivernode1 {
							status = "okay";
							pcl_id = "v4l2_lens";
							sysfs-device-tree = "/sys/firmware/devicetree/base/bus@0/dsaddon_mipi_lens_imx219@P5V27C/";
						};
					};
					module2 {
						status = "okay";
						badge = "dsaddon_mipi_centerright";
						position = "centerright";
						orientation = "1";
						drivernode0 {
							status = "okay";
							pcl_id = "v4l2_sensor";
							sysfs-device-tree = "/sys/firmware/devicetree/base/bus@0/i2c@3180000/tca9548@70/i2c@2/imx219_c@10";
						};
						drivernode1 {
							status = "okay";
							pcl_id = "v4l2_lens";
							sysfs-device-tree = "/sys/firmware/devicetree/base/bus@0/dsaddon_mipi_lens_imx219@P5V27C/";
						};
					};
					module3 {
						status = "okay";
						badge = "dsaddon_mipi_topleft";
						position = "topleft";
						orientation = "1";
						drivernode0 {
							status = "okay";
							pcl_id = "v4l2_sensor";
							sysfs-device-tree = "/sys/firmware/devicetree/base/bus@0/i2c@3180000/tca9548@70/i2c@3/imx219_d@10";
						};
						drivernode1 {
							status = "okay";
							pcl_id = "v4l2_lens";
							sysfs-device-tree = "/sys/firmware/devicetree/base/bus@0/dsaddon_mipi_lens_imx219@P5V27C/";
						};
					};
					module4 {
						status = "okay";
						badge = "dsaddon_mipi_bottomright";
						position = "bottomright";
						orientation = "1";
						drivernode0 {
							status = "okay";
							pcl_id = "v4l2_sensor";
							sysfs-device-tree = "/sys/firmware/devicetree/base/bus@0/i2c@3180000/tca9548@70/i2c@4/imx219_e@10";
						};
						drivernode1 {
							status = "okay";
							pcl_id = "v4l2_lens";
							sysfs-device-tree = "/sys/firmware/devicetree/base/bus@0/dsaddon_mipi_lens_imx219@P5V27C/";
						};
					};
					module5 {
						status = "okay";
						badge = "dsaddon_mipi_topright";
						position = "topright";
						orientation = "1";
						drivernode0 {
							status = "okay";
							pcl_id = "v4l2_sensor";
							sysfs-device-tree = "/sys/firmware/devicetree/base/bus@0/i2c@3180000/tca9548@70/i2c@5/imx219_g@10";
						};
						drivernode1 {
							status = "disabled";
							pcl_id = "v4l2_lens";
							sysfs-device-tree = "/sys/firmware/devicetree/base/bus@0/dsaddon_mipi_lens_imx219@P5V27C/";
						};
					};
				};
			};
		};
	};
};
